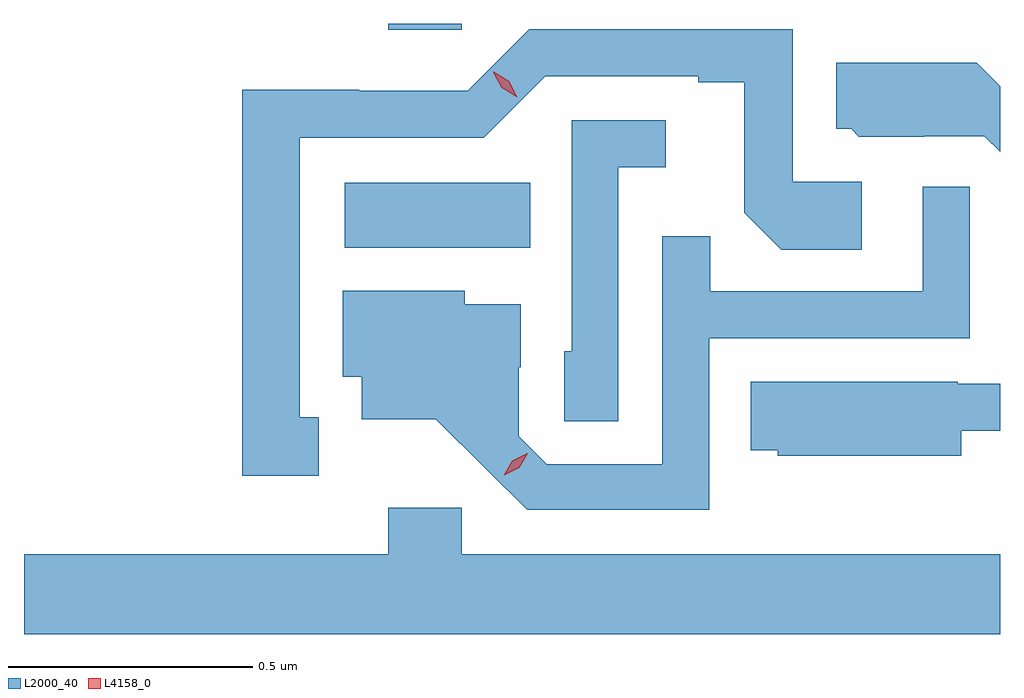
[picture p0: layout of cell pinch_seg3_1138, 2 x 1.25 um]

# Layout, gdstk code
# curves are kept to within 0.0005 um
import gdstk
lib = gdstk.Library(unit=1e-6, precision=1e-09)
def R(c, l, rs):  # rectangles x0, y0, x1, y1
    for r in rs: c.add(gdstk.rectangle(r[:2], r[2:], *l))
def P(c, l, *ps):  # polygons
    for p in ps: c.add(gdstk.Polygon(p, *l))
L2000_40 = (2000, 40)
L4158_0 = (4158, 0)

pinch_seg3_1138 = lib.new_cell('pinch_seg3_1138')
R(pinch_seg3_1138, L2000_40, [(316.974,704.372,317.354,704.506), (317.063,704.819,317.214,704.832)])
P(pinch_seg3_1138, L2000_40, [(316.921,704.025),(316.882,704.025),(316.882,704.598),(317.259,704.598),(317.385,704.724),(317.699,704.724),(317.699,704.712),(317.793,704.712),(317.793,704.444),(317.869,704.368),(318.034,704.368),(318.034,704.508),(317.892,704.508),(317.892,704.82),(317.352,704.82),(317.226,704.694),(317.004,704.694),(317.004,704.696),(316.764,704.696),(316.764,703.905),(316.921,703.905)],
  [(318.317,704.703),(318.269,704.752),(317.981,704.752),(317.981,704.616),(318.012,704.616),(318.028,704.6),(318.162,704.6),(318.162,704.601),(318.285,704.601),(318.317,704.569)],
  [(317.535,704.537),(317.632,704.537),(317.632,704.634),(317.439,704.634),(317.439,704.16),(317.424,704.16),(317.424,704.017),(317.535,704.017)],
  [(317.721,704.187),(318.255,704.187),(318.255,704.497),(318.159,704.497),(318.159,704.283),(317.723,704.283),(317.723,704.396),(317.625,704.396),(317.625,703.929),(317.388,703.929),(317.331,703.986),(317.331,704.128),(317.335,704.128),(317.335,704.257),(317.22,704.257),(317.22,704.284),(316.97,704.284),(316.97,704.108),(317.009,704.108),(317.009,704.021),(317.161,704.021),(317.348,703.836),(317.721,703.836)],
  [(318.238,703.997),(318.317,703.997),(318.317,704.094),(318.23,704.094),(318.23,704.098),(317.806,704.098),(317.806,703.958),(317.862,703.958),(317.862,703.946),(318.238,703.946)],
  [(318.317,703.744),(317.214,703.744),(317.214,703.84),(317.063,703.84),(317.063,703.744),(316.317,703.744),(316.317,703.58),(318.317,703.58)])
P(pinch_seg3_1138, L4158_0, [(317.301,703.906),(317.301,703.907),(317.318,703.936),(317.348,703.951),(317.349,703.951),(317.349,703.951),(317.332,703.922),(317.301,703.906)],
  [(317.328,704.681),(317.296,704.7),(317.279,704.732),(317.279,704.733),(317.28,704.733),(317.311,704.714),(317.328,704.681),(317.328,704.681)])

lib.write_gds('pinch_seg3_1138.gds')
